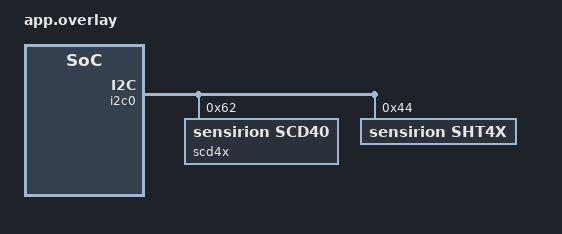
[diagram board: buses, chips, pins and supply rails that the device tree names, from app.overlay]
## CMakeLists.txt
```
#-------------------------------------------------------------------------------
# Zephyr Example Application
#
# Copyright (c) 2021 Nordic Semiconductor ASA
# SPDX-License-Identifier: Apache-2.0

#cmake_minimum_required(VERSION 3.13.1)
#find_package(Zephyr REQUIRED HINTS $ENV{ZEPHYR_BASE})

#project(app LANGUAGES C)

#target_sources(app PRIVATE src/main.c)

cmake_minimum_required(VERSION 3.20.0)

find_package(Zephyr REQUIRED HINTS $ENV{ZEPHYR_BASE})
project(app)

target_sources(app PRIVATE src/main.c)
```

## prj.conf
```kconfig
# Copyright (c) 2021 Nordic Semiconductor ASA
# SPDX-License-Identifier: Apache-2.0
#
# This file contains selected Kconfig options for the application.

CONFIG_BT=y
CONFIG_LOG=y
CONFIG_BT_DEVICE_NAME="S"
CONFIG_SENSOR=y
CONFIG_I2C=y
```

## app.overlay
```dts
/ {
	aliases {
		co2 = &scd4x;
    	rht = &sht4x;
	};
};

&i2c0 {
	status = "okay";
	scd4x: scd4x@62 {
		status = "okay";
		compatible = "sensirion,scd40";
		reg = <0x62>;
	};

  sht4x: sht4x@44 {
    status = "okay";
		compatible = "sensirion,sht4x";
		reg = <0x44>;
		repeatability = <2>;
  };
};
```

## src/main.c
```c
/* main.c - Application main entry point */

/*
 * Copyright (c) 2015-2016 Intel Corporation
 *
 * SPDX-License-Identifier: Apache-2.0
 */

#include <zephyr/types.h>
#include <stddef.h>
#include <zephyr/sys/printk.h>
#include <zephyr/sys/byteorder.h>
#include <zephyr/sys/util.h>

#include <zephyr/kernel.h>
#include <zephyr/device.h>
#include <zephyr/drivers/sensor.h>
#include <zephyr/bluetooth/bluetooth.h>

#define BT_LE_AD_ONLY_GENERAL 0x06
#define DEVICE_NAME CONFIG_BT_DEVICE_NAME
#define DEVICE_NAME_LEN (sizeof(DEVICE_NAME) - 1)
#define MANUFACTURER_DATA 1
#define COMPANY_ID 0x06D5
#define DEVICE_ID 0xAABB
#define S_ADVT 0
#define S_TYPE 0x0A

/* size of stack area used by each thread */
#define STACKSIZE 1024

/* scheduling priority used by each thread */
#define PRIORITY 7

static uint8_t data_buf[12] = {0xD5, 0x06,	/*company id (little endian)*/
															 0x00,				/*sample advertisement type*/
															 0x0A,				/*sample type*/
															 0xAA, 0xBB,	/*device id (big endian)*/
															 0x15, 0x5F,	/*temperature ticks (little endian)*/
															 0xFF, 0x7F,	/*humidity ticks (little endian)*/
															 0xC2, 0x01}; /*co2 vlaue (little endian)*/

static const struct bt_data ad[] = {
		BT_DATA_BYTES(BT_DATA_FLAGS, BT_LE_AD_ONLY_GENERAL),
		BT_DATA(BT_DATA_MANUFACTURER_DATA, data_buf, ARRAY_SIZE(data_buf))};

/* Set Scan Response data */
static const struct bt_data sd[] = {
		BT_DATA(BT_DATA_NAME_COMPLETE, DEVICE_NAME, DEVICE_NAME_LEN),
};

static const struct device *const sen_scd = DEVICE_DT_GET(DT_ALIAS(co2));
static const struct device *const sen_sht = DEVICE_DT_GET(DT_ALIAS(rht));

struct scd_data_t
{
	void *lifo_reserved; /* 1st word reserved for use by lifo */
	struct sensor_value co2;
};

struct sht_data_t
{
	void *lifo_reserved; /* 1st word reserved for use by lifo */
	struct sensor_value humi;
	struct sensor_value temp;
};

K_LIFO_DEFINE(co2_lifo);
K_LIFO_DEFINE(rht_lifo);

static void bt_ready(int ret)
{
	if (ret < 0)
	{
		printk("Bluetooth init failed (ret %d)\n", ret);
		return;
	}

	/* Start advertising with 1s interval */
	ret = bt_le_adv_start(BT_LE_ADV_PARAM(BT_LE_ADV_OPT_USE_IDENTITY, BT_GAP_ADV_SLOW_INT_MIN,
																				BT_GAP_ADV_SLOW_INT_MAX, NULL),
												ad, ARRAY_SIZE(ad), sd, ARRAY_SIZE(sd));
	if (ret < 0)
	{
		printk("Advertising failed to start (ret %d)\n", ret);
		return;
	}
}

static uint16_t get_temp_ticks(struct sensor_value *temp)
{
	uint16_t ticks = (double)(temp->val1 + (temp->val2 / 1000000.0) + 45) * 0xFFFF / 175.0;
	return ticks;
}

static uint16_t get_humi_ticks(struct sensor_value *humi)
{
	uint16_t ticks = (double)(humi->val1 + (humi->val2 / 1000000.0)) * 0xFFFF / 100.0;
	return ticks;
}

static void update_adv_data(uint16_t company_id, uint8_t s_advt, uint8_t s_type,
														uint16_t device_id, uint16_t *sample_data,
														uint8_t sample_data_len, uint8_t *data_buf)
{
	uint8_t buf_pos = 0;

	sys_put_le16(company_id, &data_buf[buf_pos]);
	buf_pos += 2;
	data_buf[buf_pos++] = s_advt;
	data_buf[buf_pos++] = s_type;
	sys_put_be16(device_id, &data_buf[buf_pos]);
	buf_pos += 2;
	for (uint8_t i = 0; i < sample_data_len; i++)
	{
		sys_put_le16(sample_data[i], &data_buf[buf_pos]);
		buf_pos += 2;
	}

	bt_le_adv_update_data(ad, ARRAY_SIZE(ad), sd, ARRAY_SIZE(sd));
}

void scd(void)
{
	struct sensor_value co2;
	int ret;

	if (!device_is_ready(sen_scd))
	{
		printf("Device %s is not ready.\n", sen_scd->name);
		return;
	}

	while (1)
	{
		/*fetch new data*/
		ret = sensor_sample_fetch(sen_scd);
		if (ret < 0)
		{
			printk("failed sample fetch from %s\n", sen_scd->name);
		}

		/*get data*/
		sensor_channel_get(sen_scd, SENSOR_CHAN_CO2, &co2);

		struct scd_data_t tx_data = {.co2 = co2};

		/*allocate new memory for tx_data*/
		size_t size = sizeof(struct scd_data_t);
		char *mem_ptr = k_malloc(size);
		__ASSERT_NO_MSG(mem_ptr != 0);

		memcpy(mem_ptr, &tx_data, size);

		/*put tx_data to a lifo*/
		k_lifo_put(&co2_lifo, mem_ptr);

		k_msleep(6000);
	}
}

void sht(void)
{
	struct sensor_value humidity, temperature;
	int ret;

	if (!device_is_ready(sen_sht))
	{
		printf("Device %s is not ready.\n", sen_sht->name);
		return;
	}

	while (1)
	{
		/*fetch new data*/
		ret = sensor_sample_fetch(sen_sht);
		if (ret < 0)
		{
			printk("failed sample fetch from %s\n", sen_sht->name);
		}

		/*get data*/
		sensor_channel_get(sen_sht, SENSOR_CHAN_AMBIENT_TEMP, &temperature);
		sensor_channel_get(sen_sht, SENSOR_CHAN_HUMIDITY, &humidity);

		struct sht_data_t tx_data = {.temp = temperature, .humi = humidity};

		/*allocate new memory for tx_data*/
		size_t size = sizeof(struct sht_data_t);
		char *mem_ptr = k_malloc(size);
		__ASSERT_NO_MSG(mem_ptr != 0);

		memcpy(mem_ptr, &tx_data, size);

		/*put tx_data to a lifo*/
		k_lifo_put(&rht_lifo, mem_ptr);

		k_msleep(500);
	}
}

void advertisement(void)
{
	struct sensor_value humidity, temperature, co2;
	bool is_new_data;
	int ret;

	/* Initialize the Bluetooth Subsystem */
	ret = bt_enable(bt_ready);
	if (ret)
	{
		printk("Bluetooth init failed (ret %d)\n", ret);
	}

	while (1)
	{
		k_msleep(2000);
		is_new_data = false;

		/*get scd data*/
		struct scd_data_t *rx_data_scd = k_lifo_get(&co2_lifo, K_NO_WAIT);
		if (rx_data_scd != NULL)
		{
			co2 = rx_data_scd->co2;
			k_free(rx_data_scd);
			is_new_data = true;

			/*clear lifo*/
			struct scd_data_t *empty_lifo;
			empty_lifo = k_lifo_get(&co2_lifo, K_NO_WAIT);
			while (empty_lifo != NULL)
			{
				k_free(empty_lifo);
				empty_lifo = k_lifo_get(&co2_lifo, K_NO_WAIT);
			}
		}

		/*get sht data*/
		struct sht_data_t *rx_data_sht = k_lifo_get(&rht_lifo, K_NO_WAIT);
		if (rx_data_sht != NULL)
		{
			humidity = rx_data_sht->humi;
			temperature = rx_data_sht->temp;
			k_free(rx_data_sht);
			is_new_data = true;

			/*clear lifo*/
			struct sht_data_t *empty_lifo;
			empty_lifo = k_lifo_get(&rht_lifo, K_NO_WAIT);
			while (empty_lifo != NULL)
			{
				k_free(empty_lifo);
				empty_lifo = k_lifo_get(&rht_lifo, K_NO_WAIT);
			}
		}

		/*update advertisement with new data*/
		if (is_new_data)
		{
			uint16_t sample_data[3] = {get_temp_ticks(&temperature), get_humi_ticks(&humidity), co2.val1};

			update_adv_data(COMPANY_ID, S_ADVT, S_TYPE, DEVICE_ID, sample_data, sizeof(sample_data), data_buf);
		}
	}
}

K_THREAD_DEFINE(scd_id, STACKSIZE, scd, NULL, NULL, NULL,
								PRIORITY, 0, 0);
K_THREAD_DEFINE(sht_id, STACKSIZE, sht, NULL, NULL, NULL,
								PRIORITY, 0, 0);
K_THREAD_DEFINE(advertisement_id, STACKSIZE, advertisement, NULL, NULL, NULL,
								PRIORITY, 0, 0);
```
